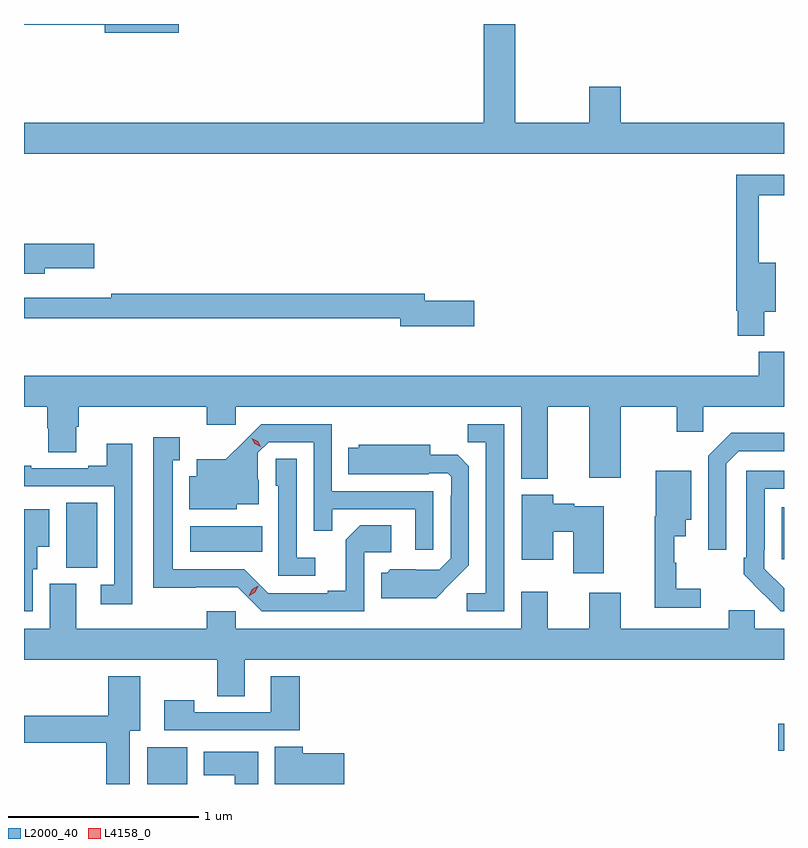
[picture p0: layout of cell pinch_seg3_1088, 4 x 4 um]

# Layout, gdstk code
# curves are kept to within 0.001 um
import gdstk
lib = gdstk.Library(unit=1e-6, precision=1e-09)
def R(c, l, rs):  # rectangles x0, y0, x1, y1
    for r in rs: c.add(gdstk.rectangle(r[:2], r[2:], *l))
def P(c, l, *ps):  # polygons
    for p in ps: c.add(gdstk.Polygon(p, *l))
L2000_40 = (2000, 40)
L4158_0 = (4158, 0)

pinch_seg3_1088 = lib.new_cell('pinch_seg3_1088')
R(pinch_seg3_1088, L2000_40, [(318.524,717.579,318.736,717.772), (321.846,717.755,321.876,717.897), (318.098,718.717,318.262,719.06), (321.863,718.761,321.876,719.035), (318.75,718.802,319.13,718.936)])
P(pinch_seg3_1088, L2000_40, [(318.691,721.579),(317.876,721.579),(317.876,721.576),(318.302,721.576),(318.302,721.534),(318.691,721.534)],
  [(321.876,721.06),(321.016,721.06),(321.016,721.249),(320.852,721.249),(320.852,721.06),(320.461,721.06),(320.461,721.579),(320.297,721.579),(320.297,721.06),(317.876,721.06),(317.876,720.896),(321.876,720.896)],
  [(321.772,720.065),(321.832,720.065),(321.832,720.322),(321.743,720.322),(321.743,720.678),(321.876,720.678),(321.876,720.786),(321.625,720.786),(321.625,720.069),(321.632,720.069),(321.632,719.939),(321.772,719.939)],
  [(317.986,720.293),(318.247,720.293),(318.247,720.423),(317.876,720.423),(317.876,720.264),(317.986,720.264)],
  [(320.245,720.122),(319.984,720.122),(319.984,720.158),(318.334,720.158),(318.334,720.139),(318.082,720.139),(318.082,720.138),(317.876,720.138),(317.876,720.03),(319.856,720.03),(319.856,719.987),(320.245,719.987)],
  [(320.632,719.564),(320.852,719.564),(320.852,719.19),(321.016,719.19),(321.016,719.564),(321.311,719.564),(321.311,719.433),(321.45,719.433),(321.45,719.564),(321.876,719.564),(321.876,719.854),(321.743,719.854),(321.743,719.728),(317.876,719.728),(317.876,719.564),(317.999,719.564),(317.999,719.451),(318.004,719.451),(318.004,719.326),(318.151,719.326),(318.151,719.458),(318.164,719.458),(318.164,719.564),(318.839,719.564),(318.839,719.469),(318.99,719.469),(318.99,719.564),(320.492,719.564),(320.492,719.186),(320.632,719.186)],
  [(320.031,719.121),(319.497,719.121),(319.497,719.472),(319.124,719.472),(318.937,719.287),(318.785,719.287),(318.785,719.2),(318.746,719.2),(318.746,719.024),(318.996,719.024),(318.996,719.051),(319.111,719.051),(319.111,719.18),(319.107,719.18),(319.107,719.322),(319.164,719.379),(319.401,719.379),(319.401,718.912),(319.499,718.912),(319.499,719.025),(319.935,719.025),(319.935,718.812),(320.031,718.812)],
  [(320.403,719.472),(320.212,719.472),(320.212,719.377),(320.307,719.377),(320.307,718.584),(320.205,718.584),(320.205,718.488),(320.403,718.488)],
  [(321.573,719.265),(321.639,719.331),(321.876,719.331),(321.876,719.428),(321.598,719.428),(321.477,719.307),(321.477,718.812),(321.573,718.812)],
  [(319.668,718.8),(319.81,718.8),(319.81,718.94),(319.645,718.94),(319.569,718.864),(319.569,718.597),(319.475,718.597),(319.475,718.584),(319.161,718.584),(319.035,718.71),(318.658,718.71),(318.658,719.283),(318.697,719.283),(318.697,719.404),(318.557,719.404),(318.557,718.613),(319.002,718.614),(319.128,718.488),(319.668,718.488)],
  [(318.447,719.371),(318.311,719.371),(318.311,719.254),(318.215,719.254),(318.215,719.241),(317.915,719.241),(317.915,719.254),(317.876,719.254),(317.876,719.145),(318.351,719.145),(318.351,718.629),(318.279,718.629),(318.279,718.524),(318.447,718.524)],
  [(320.125,718.637),(320.217,718.73),(320.217,719.252),(320.158,719.311),(320.014,719.311),(320.014,719.365),(319.638,719.365),(319.638,719.35),(319.582,719.35),(319.582,719.21),(320.006,719.21),(320.006,719.214),(320.106,719.214),(320.124,719.196),(320.124,719.096),(320.121,719.096),(320.121,718.767),(320.061,718.707),(319.804,718.708),(319.788,718.692),(319.757,718.692),(319.757,718.556),(320.045,718.556)],
  [(319.408,718.771),(319.311,718.771),(319.311,719.291),(319.2,719.291),(319.2,719.148),(319.215,719.148),(319.215,718.674),(319.408,718.674)],
  [(321.876,718.609),(321.771,718.713),(321.771,718.813),(321.774,718.813),(321.774,719.133),(321.876,719.133),(321.876,719.229),(321.678,719.229),(321.678,718.771),(321.663,718.771),(321.663,718.683),(321.86,718.488),(321.876,718.488)],
  [(321.439,718.607),(321.31,718.607),(321.31,718.743),(321.299,718.743),(321.299,718.883),(321.358,718.883),(321.358,718.97),(321.388,718.97),(321.388,719.227),(321.2,719.227),(321.2,718.987),(321.196,718.987),(321.196,718.506),(321.439,718.506)],
  [(320.926,719.041),(320.772,719.041),(320.772,719.054),(320.662,719.054),(320.662,719.101),(320.495,719.101),(320.495,718.758),(320.662,718.758),(320.662,718.907),(320.768,718.907),(320.768,718.689),(320.926,718.689)],
  [(317.922,718.71),(317.947,718.71),(317.947,718.829),(318.01,718.829),(318.01,719.026),(317.876,719.026),(317.876,718.488),(317.922,718.488)],
  [(321.876,718.396),(321.723,718.396),(321.723,718.494),(321.584,718.494),(321.584,718.396),(321.016,718.396),(321.016,718.585),(320.852,718.585),(320.852,718.396),(320.632,718.396),(320.632,718.591),(320.492,718.591),(320.492,718.396),(318.99,718.396),(318.99,718.489),(318.839,718.489),(318.839,718.396),(318.151,718.396),(318.151,718.632),(318.011,718.632),(318.011,718.396),(317.876,718.396),(317.876,718.232),(318.892,718.232),(318.892,718.042),(319.039,718.042),(319.039,718.232),(321.876,718.232)],
  [(318.433,717.86),(318.487,717.86),(318.487,718.147),(318.32,718.147),(318.32,717.939),(317.876,717.939),(317.876,717.797),(318.308,717.797),(318.308,717.579),(318.433,717.579)],
  [(319.328,718.147),(319.175,718.147),(319.175,717.957),(318.771,717.957),(318.771,718.021),(318.615,718.021),(318.615,717.861),(319.328,717.861)],
  [(319.561,717.74),(319.343,717.74),(319.343,717.776),(319.196,717.776),(319.196,717.579),(319.561,717.579)],
  [(319.108,717.748),(318.821,717.748),(318.821,717.626),(318.986,717.626),(318.986,717.579),(319.108,717.579)])
P(pinch_seg3_1088, L4158_0, [(319.122,719.353),(319.091,719.369),(319.074,719.399),(319.074,719.399),(319.074,719.399),(319.105,719.384),(319.122,719.354),(319.122,719.353)],
  [(319.06,718.57),(319.06,718.571),(319.078,718.603),(319.109,718.622),(319.11,718.622),(319.11,718.622),(319.092,718.589),(319.061,718.57)])

lib.write_gds('pinch_seg3_1088.gds')
